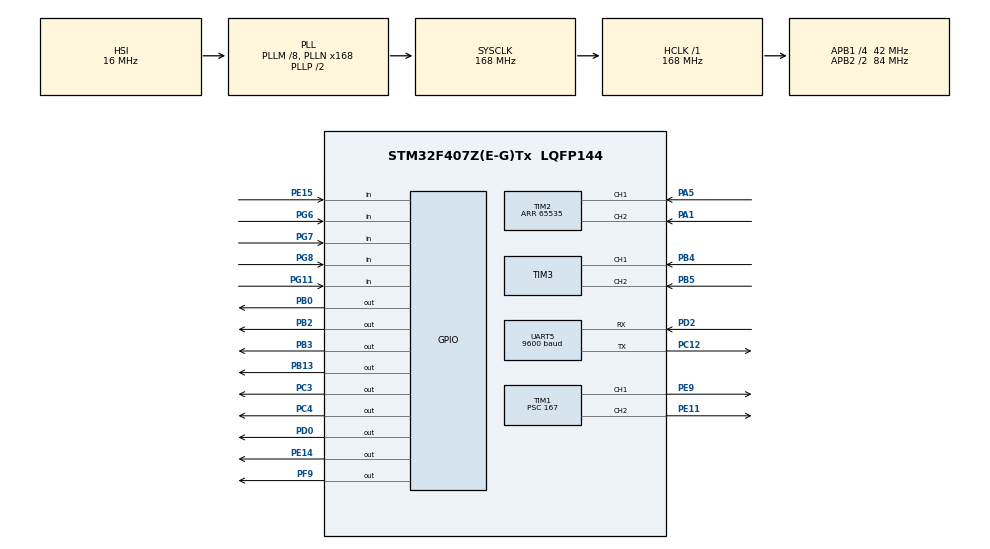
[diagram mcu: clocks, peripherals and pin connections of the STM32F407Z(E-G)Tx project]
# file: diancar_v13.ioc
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Dma.Request0=UART5_RX
Dma.UART5_RX.0.Direction=DMA_PERIPH_TO_MEMORY
Dma.UART5_RX.0.FIFOMode=DMA_FIFOMODE_DISABLE
Dma.UART5_RX.0.Instance=DMA1_Stream0
Dma.UART5_RX.0.MemDataAlignment=DMA_MDATAALIGN_BYTE
Dma.UART5_RX.0.MemInc=DMA_MINC_ENABLE
Dma.UART5_RX.0.Mode=DMA_CIRCULAR
Dma.UART5_RX.0.PeriphDataAlignment=DMA_PDATAALIGN_BYTE
Dma.UART5_RX.0.PeriphInc=DMA_PINC_DISABLE
Dma.UART5_RX.0.Priority=DMA_PRIORITY_HIGH
Mcu.Family=STM32F4
Mcu.Name=STM32F407Z(E-G)Tx
Mcu.Package=LQFP144
NVIC.DMA1_Stream0_IRQn=true\:0\:0\:false\:false\:true\:false\:true\:true
NVIC.PriorityGroup=NVIC_PRIORITYGROUP_4
NVIC.UART5_IRQn=true\:0\:0\:false\:false\:true\:true\:true\:true
PA1.Signal=S_TIM2_CH2
PA2.Signal=USART2_TX
PA3.Signal=USART2_RX
PA5.Signal=S_TIM2_CH1_ETR
PB0.PinState=GPIO_PIN_SET
PB0.Signal=GPIO_Output
PB13.Signal=GPIO_Output
PB2.Signal=GPIO_Output
PB3.GPIO_PuPd=GPIO_NOPULL
PB3.Signal=GPIO_Output
PB4.Signal=S_TIM3_CH1
PB5.Signal=S_TIM3_CH2
PC12.Mode=Asynchronous
PC12.Signal=UART5_TX
PC3.Signal=GPIO_Output
PC4.Signal=GPIO_Output
PD0.GPIO_PuPd=GPIO_NOPULL
PD0.Signal=GPIO_Output
PD2.Mode=Asynchronous
PD2.Signal=UART5_RX
PE11.Signal=S_TIM1_CH2
PE14.Signal=GPIO_Output
PE15.Signal=GPIO_Input
PE9.Signal=S_TIM1_CH1
PF9.PinState=GPIO_PIN_SET
PF9.Signal=GPIO_Output
PG11.GPIO_PuPd=GPIO_PULLUP
PG11.Signal=GPIO_Input
PG6.GPIO_PuPd=GPIO_PULLUP
PG6.Signal=GPIO_Input
PG7.GPIO_PuPd=GPIO_PULLUP
PG7.Signal=GPIO_Input
PG8.GPIO_PuPd=GPIO_PULLUP
PG8.Signal=GPIO_Input
PH0-OSC_IN.Mode=HSE-External-Oscillator
PH0-OSC_IN.Signal=RCC_OSC_IN
PH1-OSC_OUT.Mode=HSE-External-Oscillator
PH1-OSC_OUT.Signal=RCC_OSC_OUT
ProjectManager.HeapSize=0x200
ProjectManager.StackSize=0x400
ProjectManager.TargetToolchain=CMake
RCC.48MHZClocksFreq_Value=84000000
RCC.AHBFreq_Value=168000000
RCC.APB1CLKDivider=RCC_HCLK_DIV4
RCC.APB1Freq_Value=42000000
RCC.APB1TimFreq_Value=84000000
RCC.APB2CLKDivider=RCC_HCLK_DIV2
RCC.APB2Freq_Value=84000000
RCC.APB2TimFreq_Value=168000000
RCC.CortexFreq_Value=168000000
RCC.HCLKFreq_Value=168000000
RCC.HSE_VALUE=8000000
RCC.HSI_VALUE=16000000
RCC.LSE_VALUE=32768
RCC.PLLM=8
RCC.PLLN=168
RCC.SYSCLKFreq_VALUE=168000000
RCC.SYSCLKSource=RCC_SYSCLKSOURCE_PLLCLK
RCC.VCOOutputFreq_Value=336000000
SH.S_TIM1_CH1.0=TIM1_CH1,PWM Generation1 CH1
SH.S_TIM1_CH2.0=TIM1_CH2,PWM Generation2 CH2
SH.S_TIM2_CH1_ETR.0=TIM2_CH1,Encoder_Interface
SH.S_TIM2_CH2.0=TIM2_CH2,Encoder_Interface
SH.S_TIM3_CH1.0=TIM3_CH1,Encoder_Interface
SH.S_TIM3_CH2.0=TIM3_CH2,Encoder_Interface
TIM1.AutoReloadPreload=TIM_AUTORELOAD_PRELOAD_ENABLE
TIM1.Channel-PWM\ Generation1\ CH1=TIM_CHANNEL_1
TIM1.Channel-PWM\ Generation2\ CH2=TIM_CHANNEL_2
TIM1.Period=999
TIM1.Prescaler=167
TIM1.Pulse-PWM\ Generation1\ CH1=300
TIM1.Pulse-PWM\ Generation2\ CH2=300
TIM2.EncoderMode=TIM_ENCODERMODE_TI12
TIM2.Period=65535
TIM3.EncoderMode=TIM_ENCODERMODE_TI12
UART5.BaudRate=9600
UART5.VirtualMode=Asynchronous
board=custom

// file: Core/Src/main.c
/* USER CODE BEGIN Header */
/**
  ******************************************************************************
  * @file           : main.c
  * @brief          : Main program body
  ******************************************************************************
  */
/* USER CODE END Header */
#include "main.h"
#include "dma.h"
#include "tim.h"
#include "usart.h"
#include "gpio.h"

/* USER CODE BEGIN Includes */
#include "bsp.h"
/* USER CODE END Includes */

void SystemClock_Config(void);

/* USER CODE BEGIN 0 */
#include "PID.h"
uint16_t adcValues[8];
static uint32_t oled_tick = 0;
static uint32_t enc_tick  = 0;
/* USER CODE END 0 */

int main(void)
{

  /* MCU Configuration--------------------------------------------------------*/

  /* Reset of all peripherals, Initializes the Flash interface and the Systick. */
  HAL_Init();

  /* Configure the system clock */
  SystemClock_Config();

  /* Initialize all configured peripherals */
  MX_GPIO_Init();
  MX_DMA_Init();
  MX_TIM1_Init();
  MX_UART5_Init();
  MX_TIM2_Init();
  MX_TIM3_Init();
  /* USER CODE BEGIN 2 */
	DWT_Init();
	OLED_Init();
	OLED_Clear();
  MOTOR_Init();
  GW_GRAY_Init();
  HAL_UART_Receive_IT(&huart5, &rx_byte, 1);
	jy_Init();

  HAL_TIM_Encoder_Start(&htim2, TIM_CHANNEL_ALL);
  HAL_TIM_Encoder_Start(&htim3, TIM_CHANNEL_ALL);

  speed_pid_init(&PID_left,  1.5f, 0.4f, 0.3f, 400);
  speed_pid_init(&PID_right, 1.5f, 0.4f, 0.3f, 400);
  jy_turn_init();           /* JY901S转圈模块初始化 */
  /* USER CODE END 2 */

  /* Infinite loop */
  while (1)
  {

    /* USER CODE BEGIN 3 */
	HAL_GPIO_WritePin(GPIOF,GPIO_PIN_9,GPIO_PIN_RESET);

    Motor_key_scan();
    PG7_key_scan();
    PG8_key_scan();
    PG11_key_scan();
    GW_GRAY_DigtalDatas_Read();
    track_line();

    if (uwTick - enc_tick >= 20) {
        enc_tick = uwTick;
        encoder_left  = (int16_t)__HAL_TIM_GET_COUNTER(&htim2);
        encoder_right = (int16_t)__HAL_TIM_GET_COUNTER(&htim3);
        __HAL_TIM_SET_COUNTER(&htim2, 0);
        __HAL_TIM_SET_COUNTER(&htim3, 0);
    }

    jy_turn_update();       /* JY901S航向累积，纯监测 */
    delay_control();

    if (uwTick - oled_tick >= 100) {
        oled_tick = uwTick;
        if (race_timing) {
            OLED_ShowString(1, 1, "T:");
            OLED_ShowNum(1, 3, (uwTick - race_start_tick) / 1000, 4);
            OLED_ShowString(1, 7, "s");
        } else if (race_elapsed_ms > 0) {
            OLED_ShowString(1, 1, "T:");
            OLED_ShowNum(1, 3, race_elapsed_ms / 1000, 4);
            OLED_ShowString(1, 7, "s");
        }

        OLED_ShowString(3, 1, "Yaw:");
        OLED_ShowSignedNum(3, 6, (int16_t)fAngle[2], 5);

        OLED_ShowString(4, 1, motor_enabled ? "ON " : "OFF");
        OLED_ShowString(4, 5, accel_mode ? "AC" : "NO");

        /* 匀加速模式：状态机枚举显示 */
        if (accel_mode && motor_enabled) {
            OLED_ShowString(2, 1,
                accel_state == ACCEL_ACCELERATING ? "ACC+" :
                accel_state == ACCEL_CRUISING      ? "CRU=" :
                accel_state == ACCEL_DECELERATING  ? "DEC-" :
                accel_state == ACCEL_HOLD          ? "HOLD" : "IDLE");
        } else if (accel_mode) {
            OLED_ShowString(2, 1, "Dc:");
            OLED_ShowNum(2, 4, cruise_start_ms / 1000, 2);
            OLED_ShowString(2, 6, "s");
        }
    }
  }
  /* USER CODE END 3 */
}

void SystemClock_Config(void)
{
  RCC_OscInitTypeDef RCC_OscInitStruct = {0};
  RCC_ClkInitTypeDef RCC_ClkInitStruct = {0};

  /** Configure the main internal regulator output voltage
  */
  __HAL_RCC_PWR_CLK_ENABLE();
  __HAL_PWR_VOLTAGESCALING_CONFIG(PWR_REGULATOR_VOLTAGE_SCALE1);

  /** Initializes the RCC Oscillators according to the specified parameters
  * in the RCC_OscInitTypeDef structure.
  */
  RCC_OscInitStruct.OscillatorType = RCC_OSCILLATORTYPE_HSI;
  RCC_OscInitStruct.HSIState = RCC_HSI_ON;
  RCC_OscInitStruct.HSICalibrationValue = RCC_HSICALIBRATION_DEFAULT;
  RCC_OscInitStruct.PLL.PLLState = RCC_PLL_ON;
  RCC_OscInitStruct.PLL.PLLSource = RCC_PLLSOURCE_HSI;
  RCC_OscInitStruct.PLL.PLLM = 8;
  RCC_OscInitStruct.PLL.PLLN = 168;
  RCC_OscInitStruct.PLL.PLLP = RCC_PLLP_DIV2;
  RCC_OscInitStruct.PLL.PLLQ = 4;
  if (HAL_RCC_OscConfig(&RCC_OscInitStruct) != HAL_OK)
  {
    Error_Handler();
  }

  /** Initializes the CPU, AHB and APB buses clocks
  */
  RCC_ClkInitStruct.ClockType = RCC_CLOCKTYPE_HCLK|RCC_CLOCKTYPE_SYSCLK
                              |RCC_CLOCKTYPE_PCLK1|RCC_CLOCKTYPE_PCLK2;
  RCC_ClkInitStruct.SYSCLKSource = RCC_SYSCLKSOURCE_PLLCLK;
  RCC_ClkInitStruct.AHBCLKDivider = RCC_SYSCLK_DIV1;
  RCC_ClkInitStruct.APB1CLKDivider = RCC_HCLK_DIV4;
  RCC_ClkInitStruct.APB2CLKDivider = RCC_HCLK_DIV2;

  if (HAL_RCC_ClockConfig(&RCC_ClkInitStruct, FLASH_LATENCY_5) != HAL_OK)
  {
    Error_Handler();
  }
}

void Error_Handler(void)
{
  __disable_irq();
  while (1)
  {
  }
}
